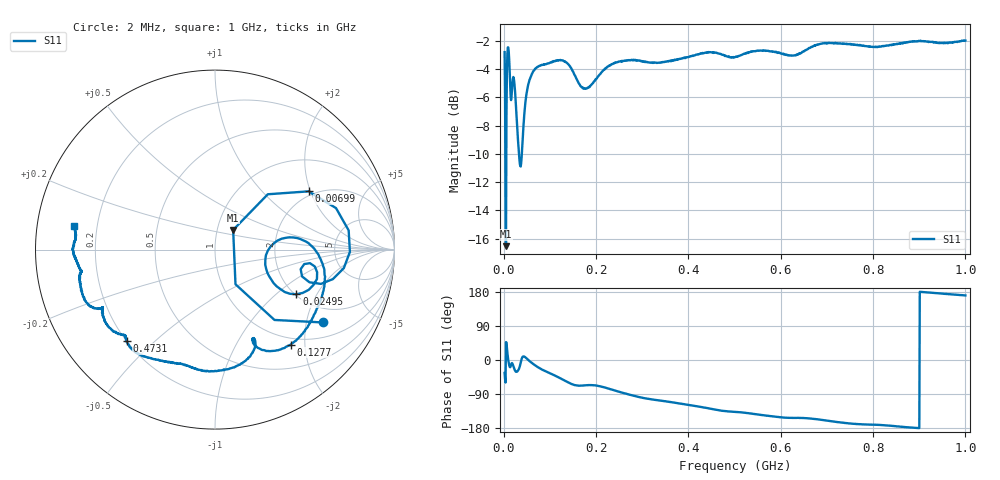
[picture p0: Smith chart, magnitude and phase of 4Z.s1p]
!Keysight Technologies N9923A: A.08.19
!Date: Thursday, 16 January 2020 11:30:00
!TimeZone: (GMT-03:00) Brasilia!Model: N9923A
!Serial: MY51491501
!GPS Latitude:
!GPS Longitude:
!GPS TimeStamp: 0001-01-01 00:00:00Z
!GPS Seconds Since Last Read: 0
!CHECKSUM:1078980270
!Correction: S11(ON U)
!S1P File: Measurement: S11:
# Hz S DB R 50
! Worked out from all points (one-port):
!   1001 points, 2 MHz to 1 GHz, reference 50 ohm
!   lowest |S11| = -16.5 dB at 4.994 MHz (marker M1), VSWR 1.35, Z = 59.6 + j13.4 ohm
!   |S11| at or under -10 dB: 3.582 MHz to 5.708 MHz (2.126 MHz wide, 45.8 % of centre); 33.13 MHz to 39.29 MHz (6.163 MHz wide, 17 % of centre)
!   S11 on the Smith chart (normalised r, x): 2 MHz: 1.46, -2.49; 6.99 MHz: 1.86, +1.94; 24.95 MHz: 2.03, -1.38; 127.7 MHz: 0.88, -1.72; 473.1 MHz: 0.20, -0.41; 1 GHz: 0.11, +0.08
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2000000  -2.81 -34.1
4994000  -16.53 47.3
6990000  -4.24 31.9
9984000  -2.48 -1.0
1.2978e7  -4.14 -17.9
2.4954e7  -5.73 -28.7
3.0942e7  -9.01 -27.9
3.5932e7  -10.86 -11.5
4.5912e7  -6.72 8.1
5.5892e7  -4.77 -2.8
6.9864e7  -3.94 -15.6
1.2675e8  -3.39 -50.9
1.27748e8  -3.39 -51.5
1.42718e8  -3.77 -60.7
1.58686e8  -4.75 -67.4
1.8164e8  -5.32 -66.3
2.0659e8  -4.43 -68.8
2.515e8  -3.48 -84.3
3.014e8  -3.44 -99.9
3.7625e8  -3.30 -113.8
4.73056e8  -3.00 -134.0
5.01e8  -3.17 -136.7
5.6587e8  -2.69 -146.3
6.2575e8  -3.06 -152.8
6.74652e8  -2.31 -155.7
7.505e8  -2.24 -167.6
8.7525e8  -2.11 -177.4
1e9  -1.99 170.4
